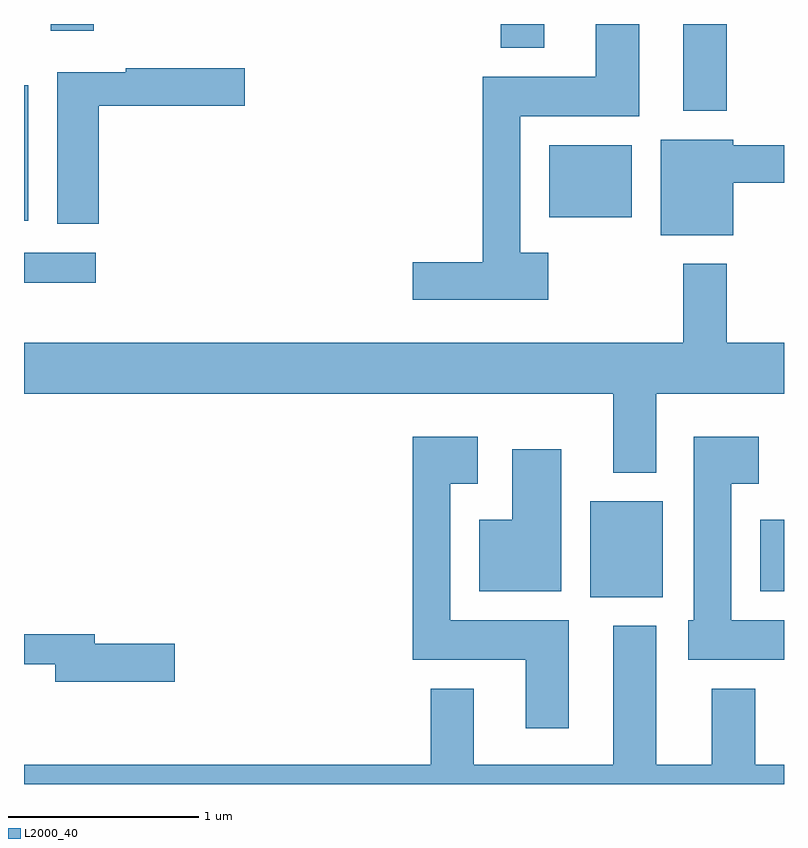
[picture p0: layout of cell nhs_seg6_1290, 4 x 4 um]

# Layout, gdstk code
import gdstk
lib = gdstk.Library(unit=1e-6, precision=1e-09)
def R(c, l, rs):  # rectangles x0, y0, x1, y1
    for r in rs: c.add(gdstk.rectangle(r[:2], r[2:], *l))
def P(c, l, *ps):  # polygons
    for p in ps: c.add(gdstk.Polygon(p, *l))
L2000_40 = (2000, 40)

nhs_seg6_1290 = lib.new_cell('nhs_seg6_1290')
R(nhs_seg6_1290, L2000_40, [(226.591,1591.146,226.974,1591.649), (227.486,1591.176,227.611,1591.554), (223.611,1592.801,223.988,1592.959), (223.611,1593.126,223.634,1593.839), (226.376,1593.146,226.809,1593.524), (227.081,1593.706,227.309,1594.162), (226.121,1594.036,226.349,1594.162), (223.751,1594.126,223.979,1594.162)])
P(nhs_seg6_1290, L2000_40, [(226.369,1592.959),(226.224,1592.959),(226.224,1593.676),(226.849,1593.676),(226.849,1594.162),(226.621,1594.162),(226.621,1593.884),(226.026,1593.884),(226.026,1592.909),(225.656,1592.909),(225.656,1592.711),(226.369,1592.711)],
  [(224.004,1593.731),(224.774,1593.731),(224.774,1593.929),(224.146,1593.929),(224.146,1593.909),(223.786,1593.909),(223.786,1593.111),(224.004,1593.111)],
  [(227.344,1593.326),(227.611,1593.326),(227.611,1593.524),(227.344,1593.524),(227.344,1593.554),(226.961,1593.554),(226.961,1593.051),(227.344,1593.051)],
  [(226.939,1592.216),(227.611,1592.216),(227.611,1592.484),(227.309,1592.484),(227.309,1592.899),(227.081,1592.899),(227.081,1592.484),(223.611,1592.484),(223.611,1592.216),(226.711,1592.216),(226.711,1591.801),(226.939,1591.801)],
  [(227.611,1591.024),(227.334,1591.024),(227.334,1591.741),(227.479,1591.741),(227.479,1591.989),(227.136,1591.989),(227.136,1591.024),(227.106,1591.024),(227.106,1590.816),(227.611,1590.816)],
  [(226.479,1591.024),(225.854,1591.024),(225.854,1591.741),(225.999,1591.741),(225.999,1591.989),(225.656,1591.989),(225.656,1590.816),(226.251,1590.816),(226.251,1590.456),(226.479,1590.456)],
  [(226.439,1591.924),(226.181,1591.924),(226.181,1591.554),(226.006,1591.554),(226.006,1591.176),(226.439,1591.176)],
  [(227.611,1590.264),(227.459,1590.264),(227.459,1590.664),(227.231,1590.664),(227.231,1590.264),(226.939,1590.264),(226.939,1590.994),(226.711,1590.994),(226.711,1590.264),(225.979,1590.264),(225.979,1590.664),(225.751,1590.664),(225.751,1590.264),(223.611,1590.264),(223.611,1590.162),(227.611,1590.162)],
  [(224.404,1590.899),(223.984,1590.899),(223.984,1590.949),(223.611,1590.949),(223.611,1590.791),(223.776,1590.791),(223.776,1590.701),(224.404,1590.701)])

lib.write_gds('nhs_seg6_1290.gds')
